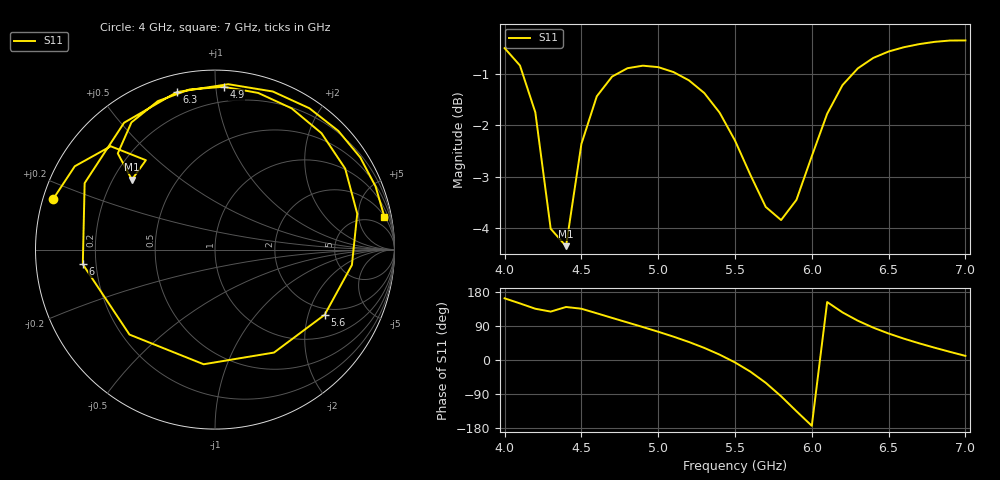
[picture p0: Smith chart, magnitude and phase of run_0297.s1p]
! Touchstone file exported from HFSS 2024.2.0
!  File:  C:/Users/wsak9/Desktop/Sim Fast/Widenad Patch/WP_AI_V1_sweep.aedt
!  Generated:  03:30:10 AM Oct 14, 2026
!  Design:  A1_model
!  Project:  WP_AI_V1_sweep
!  Setup:  Setup1
!  Solution:  Sweep
! Variables:
!  Air_gap = 2.66mm
!  Curve_Amp1 = 2.19
!  Curve_len1 = 1
!  Curve_pos = 12.505mm
!  Extra = 4.64mm
!  H_sub = 0.79mm
!  L_Patch = 21.01mm
!  L_Patch1 = 16.98mm
!  Sx = 1.88mm
!  Sy = 2.82mm
!  WS = 0.35mm
!  W_Patch = 17.39mm
!  W_Patch1 = 12.34mm
!Data is not renormalized
# GHz S MA
! Terminal data exported
! Port[1] = 1
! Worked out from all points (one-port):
!   31 points, 4 GHz to 7 GHz, reference per port
!   lowest |S11| = -4.4 dB at 4.4 GHz (marker M1), VSWR 4.07
!   |S11| at or under -10 dB: nowhere
!   S11 on the Smith chart (normalised r, x): 4 GHz: 0.03, +0.15; 4.9 GHz: 0.10, +1.05; 5.6 GHz: 1.75, -2.56; 6 GHz: 0.15, -0.05; 6.3 GHz: 0.08, +0.78; 7 GHz: 2, +10
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4  0.945 162.7
4.1  0.9088 149.3
4.2  0.818 135.3
4.3  0.6295 127.7
4.4  0.6053 139.9
4.5  0.7618 135.3
4.6  0.8479 123.3
4.7  0.8865 111.1
4.8  0.9033 99.0
4.9  0.9084 87.0
5.1  0.8954 61.5
5.2  0.879 47.5
5.3  0.8542 31.9
5.4  0.8173 14.1
5.5  0.7676 -6.4
5.6  0.7107 -30.7
5.7  0.6612 -60.2
5.8  0.6419 -95.7
5.9  0.6717 -135.2
6  0.7411 -173.6
6.1  0.8153 153.0
6.2  0.8697 125.6
6.3  0.903 103.6
6.4  0.9244 85.4
6.5  0.9379 69.9
6.7  0.9536 43.9
6.8  0.9585 32.4
7  0.9615 10.9
